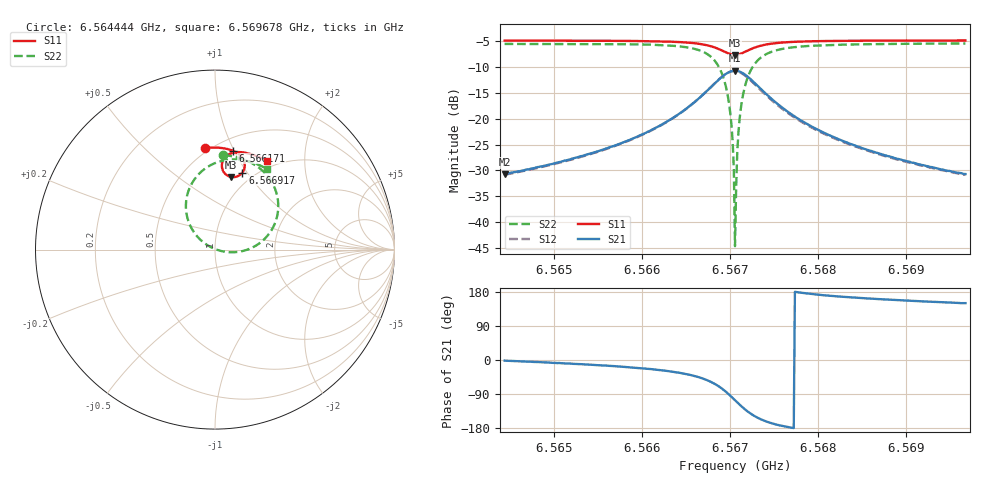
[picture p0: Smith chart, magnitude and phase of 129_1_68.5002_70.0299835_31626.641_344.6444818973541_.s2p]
#  HZ  S  RI  R  50.00
! Rohde & Schwarz Vector Network Analyzer
! Rohde-Schwarz,ZNB20-2Port,1311601062101988,3.16
! Created: UTC 3/20/2024, 4:54:17 PM
! freq[Hz]  re:S11  im:S11  re:S21  im:S21  re:S12  im:S12  re:S22  im:S22
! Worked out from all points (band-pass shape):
!   401 points, 6.564444 GHz to 6.569678 GHz, reference 50 ohm
!   highest |S21| = -10.72 dB at 6.567061 GHz (marker M1); lowest = -30.8 dB at 6.564444 GHz (marker M2)
!   |S21| within 3 dB of the highest: 6.566798 GHz to 6.567323 GHz (524.7 kHz wide, 0.00799 % of centre)
!   lowest |S11| = -7.6 dB at 6.567061 GHz (marker M3), VSWR 2.42, Z = 41.6 + j40.7 ohm
!   |S11| at or under -10 dB: nowhere
!   |S22| runs from -44.6 to -5.4 dB; largest |S21 - S12| = 0.014
!   S11 on the Smith chart (normalised r, x): 6.564444 GHz: 0.47, +0.79; 6.566171 GHz: 0.61, +0.99; 6.566917 GHz: 0.88, +0.95; 6.569678 GHz: 0.90, +1.31
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6.5644438e9  -0.0555 0.5667  0.029 -0.000859  0.0286 -0.00134  0.0463 0.5265
6.5653206e9  0.0167 0.5678  0.0427 -0.00839  0.042 -0.00905  0.1312 0.5116
6.5661712e9  0.098 0.5518  0.0745 -0.0357  0.0733 -0.0365  0.2477 0.4542
6.5661973e9  0.1009 0.5506  0.0761 -0.0376  0.0749 -0.0384  0.2524 0.4504
6.5667077e9  0.1608 0.4953  0.112 -0.1331  0.1093 -0.1358  0.3517 0.2642
6.5668255e9  0.1653 0.4617  0.1008 -0.1922  0.0957 -0.1959  0.3357 0.1513
6.5669171e9  0.1524 0.429  0.0609 -0.2483  0.0519 -0.2513  0.2625 0.047
6.5669956e9  0.1222 0.407  -0.00784 -0.2826  -0.0201 -0.2819  0.1357 -0.0118
6.5670218e9  0.1088 0.404  -0.0366 -0.2859  -0.0492 -0.283  0.0838 -0.0148
6.5670349e9  0.1018 0.4036  -0.0513 -0.2852  -0.0641 -0.2813  0.0575 -0.0124
6.567048e9  0.0946 0.4039  -0.0661 -0.2831  -0.0787 -0.2781  0.0313 -0.0071
6.5670611e9  0.0876 0.4051  -0.0807 -0.2798  -0.093 -0.2736  0.00578 0.000914
6.5670872e9  0.0744 0.4097  -0.1083 -0.2688  -0.1197 -0.2601  -0.0417 0.0243
6.5671003e9  0.0682 0.4133  -0.1211 -0.2613  -0.1316 -0.2519  -0.063 0.0392
6.5671134e9  0.0625 0.4171  -0.1328 -0.2528  -0.1427 -0.2426  -0.0824 0.0558
6.5671396e9  0.0528 0.4267  -0.1532 -0.2331  -0.161 -0.2218  -0.1148 0.0933
6.5671919e9  0.041 0.4488  -0.1795 -0.1888  -0.1832 -0.1768  -0.1532 0.1744
6.5672574e9  0.0387 0.4758  -0.1892 -0.1361  -0.1895 -0.1252  -0.1609 0.2679
6.567506e9  0.0768 0.5305  -0.1452 -0.0286  -0.1419 -0.0243  -0.0589 0.4484
6.5679378e9  0.1397 0.5432  -0.0829 0.00887  -0.0811 0.0101  0.0804 0.5011
6.5688146e9  0.223 0.524  -0.0404 0.0153  -0.0393 0.0157  0.2114 0.4843
6.5696784e9  0.2876 0.4934  -0.0253 0.0146  -0.0245 0.0148  0.289 0.4493
